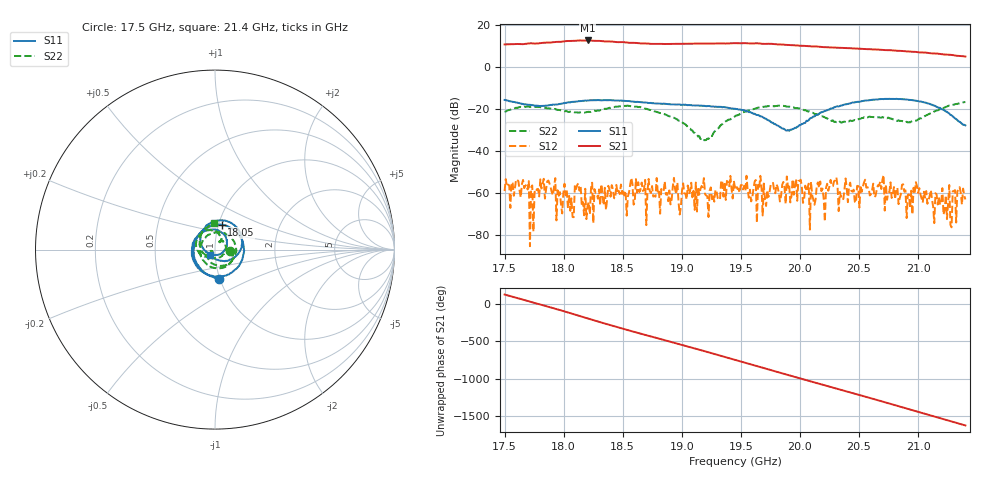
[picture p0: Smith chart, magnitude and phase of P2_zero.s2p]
!Created with skrf (http://scikit-rf.org).
# GHz S RI R 50.0
!freq ReS11 ImS11 ReS21 ImS21 ReS12 ImS12 ReS22 ImS22
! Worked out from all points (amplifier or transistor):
!   401 points, 17.5 GHz to 21.4 GHz, reference 50 ohm
!   highest |S21| = 12.6 dB at 18.2 GHz (marker M1)
!   |S21| within 3 dB of that: start of sweep to 20.16 GHz
!   unconditionally stable (mu >= 1): start of sweep to end of sweep
!   at 18.14 GHz: K = 77.71, MAG = 12.8 dB, |S12| = -56.7 dB
!   at 19.45 GHz: K = 101.73, MAG = 11.4 dB, |S12| = -57.6 dB
!   at 21.4 GHz: K = 397.65, MAG = 5.1 dB, |S12| = -63.2 dB
!   S11 on the Smith chart (normalised r, x): 17.5 GHz: 0.99, -0.33; 18.05 GHz: 1.04, +0.29; 21.4 GHz: 0.95, -0.06
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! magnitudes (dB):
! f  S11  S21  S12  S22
! 17.5 GHz  -15.7  10.8  -59.2  -21.4
! 17.69 GHz  -17.9  11.1  -56.2  -18.9
! 17.73 GHz  -18.2  11.3  -56.5  -18.9
! 17.81 GHz  -18.6  11.5  -58.0  -19.3
! 18.05 GHz  -16.9  12.4  -61.4  -21.4
! 18.11 GHz  -16.4  12.6  -56.3  -21.7
! 18.15 GHz  -16.2  12.6  -66.4  -21.6
! 18.2 GHz  -15.9  12.6  -66.3  -21.5
! 18.4 GHz  -15.8  12.2  -61.9  -19.6
! 18.81 GHz  -17.4  11.1  -59.0  -21.8
! 19.2 GHz  -18.6  11.2  -60.7  -34.9
! 19.45 GHz  -19.9  11.3  -57.6  -23.5
! 19.89 GHz  -30.4  10.5  -52.2  -18.8
! 20.1 GHz  -24.2  9.8  -61.2  -21.8
! 20.29 GHz  -19.2  9.3  -54.5  -26.2
! 20.35 GHz  -18.4  9.1  -61.9  -26.5
! 20.69 GHz  -15.3  8.2  -58.2  -24.2
! 20.76 GHz  -15.2  8.0  -59.7  -24.4
! 20.92 GHz  -15.7  7.4  -60.8  -26.3
! 21 GHz  -16.3  7.0  -60.0  -25.1
! 21.26 GHz  -22.2  5.8  -56.3  -18.4
! 21.4 GHz  -27.9  5.0  -63.2  -16.7
